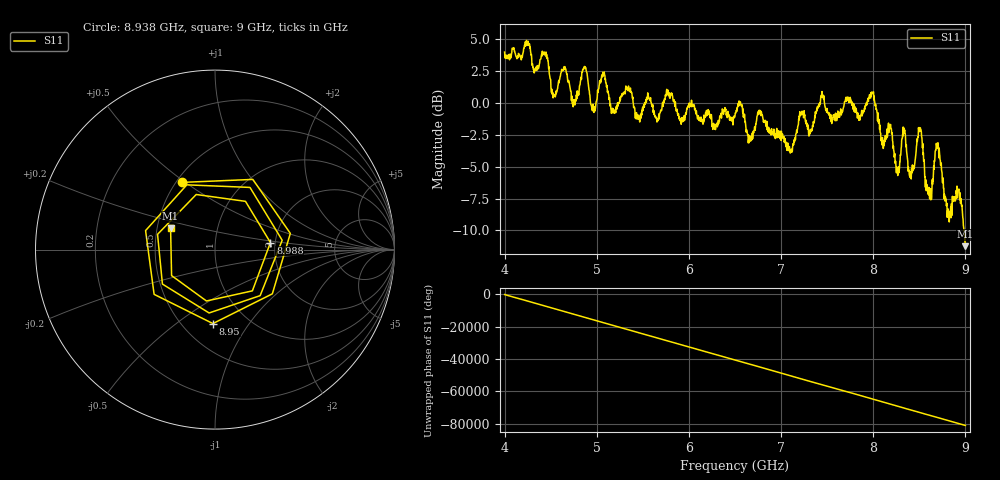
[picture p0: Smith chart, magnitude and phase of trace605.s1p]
! Created with skrf 1.8.0 (http://scikit-rf.org).
# Hz S RI R 50.0
!freq ReS11 ImS11
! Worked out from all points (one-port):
!   1601 points, 4 GHz to 9 GHz, reference 50 ohm
!   lowest |S11| = -11.2 dB at 9 GHz (marker M1), VSWR 1.76, Z = 29.5 + j7.54 ohm
!   |S11| at or under -10 dB: 8.985071 GHz to end of sweep
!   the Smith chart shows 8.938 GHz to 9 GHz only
!   S11 on the Smith chart (normalised r, x): 8.938 GHz: 0.54, +0.49; 8.95 GHz: 0.70, -0.69; 8.988 GHz: 1.88, +0.16; 9 GHz: 0.59, +0.15
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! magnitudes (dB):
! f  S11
! 4 GHz  4.0
! 4.434 GHz  3.8
! 4.531 GHz  0.7
! 4.625 GHz  2.5
! 4.75 GHz  0.0
! 4.862 GHz  2.8
! 4.959 GHz  -0.1
! 5.069 GHz  2.1
! 5.175 GHz  -0.7
! 5.25 GHz  0.1
! 5.875 GHz  -0.8
! 6.5 GHz  -1.0
! 7.125 GHz  -3.4
! 7.444 GHz  0.9
! 7.75 GHz  0.4
! 7.988 GHz  0.8
! 8.259 GHz  -5.2
! 8.328 GHz  -2.3
! 8.375 GHz  -4.6
! 8.422 GHz  -5.4
! 8.506 GHz  -2.0
! 8.609 GHz  -7.2
! 8.697 GHz  -3.4
! 8.819 GHz  -8.5
! 8.938 GHz  -7.6
! 8.95 GHz  -7.7
! 8.988 GHz  -10.1
! 9 GHz  -11.2
